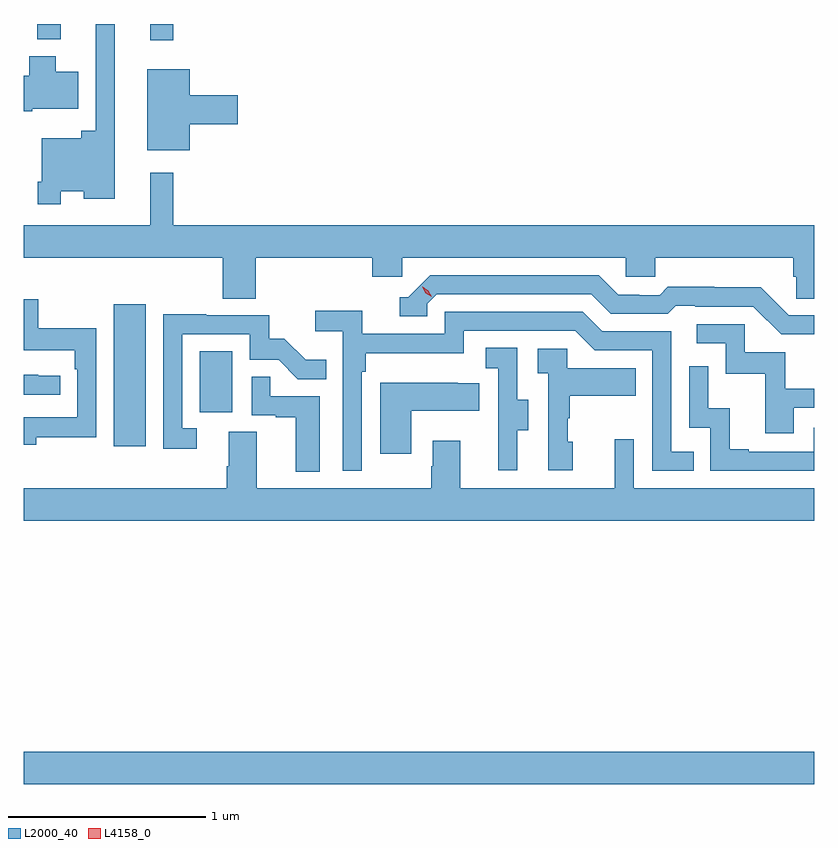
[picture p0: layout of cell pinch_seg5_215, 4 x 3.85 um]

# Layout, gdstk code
import gdstk
lib = gdstk.Library(unit=1e-6, precision=1e-09)
def R(c, l, rs):  # rectangles x0, y0, x1, y1
    for r in rs: c.add(gdstk.rectangle(r[:2], r[2:], *l))
def P(c, l, *ps):  # polygons
    for p in ps: c.add(gdstk.Polygon(p, *l))
L2000_40 = (2000, 40)
L4158_0 = (4158, 0)

pinch_seg5_215 = lib.new_cell('pinch_seg5_215')
R(pinch_seg5_215, L2000_40, [(981.167,911.372,985.167,911.536), (981.623,913.08,981.784,913.801), (982.058,913.254,982.222,913.561), (981.806,915.135,981.923,915.218), (981.235,915.14,981.353,915.218)])
P(pinch_seg5_215, L2000_40, [(981.354,914.372),(981.47,914.372),(981.47,914.333),(981.628,914.333),(981.628,915.218),(981.531,915.218),(981.531,914.677),(981.458,914.677),(981.458,914.641),(981.258,914.641),(981.258,914.419),(981.238,914.419),(981.238,914.307),(981.354,914.307)],
  [(981.21,914.789),(981.442,914.789),(981.442,914.977),(981.328,914.977),(981.328,915.055),(981.194,915.055),(981.194,914.955),(981.167,914.955),(981.167,914.777),(981.21,914.777)],
  [(982.006,914.711),(982.249,914.711),(982.249,914.858),(982.006,914.858),(982.006,914.989),(981.791,914.989),(981.791,914.579),(982.006,914.579)],
  [(982.34,914.036),(982.931,914.036),(982.931,913.938),(983.082,913.938),(983.082,914.036),(984.213,914.036),(984.213,913.938),(984.363,913.938),(984.363,914.036),(985.061,914.036),(985.061,913.938),(985.075,913.938),(985.075,913.828),(985.167,913.828),(985.167,914.2),(981.923,914.2),(981.923,914.464),(981.806,914.464),(981.806,914.2),(981.167,914.2),(981.167,914.036),(982.175,914.036),(982.175,913.828),(982.34,913.828)],
  [(985.167,913.743),(985.038,913.743),(984.896,913.885),(984.66,913.885),(984.66,913.888),(984.427,913.888),(984.385,913.845),(984.282,913.845),(984.282,913.848),(984.175,913.848),(984.076,913.947),(983.223,913.947),(983.112,913.836),(983.069,913.836),(983.069,913.74),(983.208,913.74),(983.208,913.803),(983.256,913.851),(984.039,913.851),(984.138,913.752),(984.427,913.752),(984.466,913.791),(984.565,913.791),(984.565,913.788),(984.858,913.788),(984.999,913.647),(985.167,913.647)],
  [(981.229,913.126),(981.534,913.126),(981.534,913.678),(981.241,913.678),(981.241,913.824),(981.167,913.824),(981.167,913.568),(981.425,913.568),(981.425,913.472),(981.438,913.472),(981.438,913.227),(981.167,913.227),(981.167,913.088),(981.229,913.088)],
  [(982.878,913.457),(982.898,913.457),(982.898,913.553),(983.394,913.553),(983.394,913.665),(983.958,913.665),(984.057,913.566),(984.348,913.566),(984.348,912.957),(984.557,912.957),(984.557,913.053),(984.444,913.053),(984.444,913.662),(984.094,913.662),(983.995,913.761),(983.298,913.761),(983.298,913.65),(982.88,913.65),(982.88,913.766),(982.641,913.766),(982.641,913.664),(982.782,913.664),(982.782,912.957),(982.878,912.957)],
  [(982.042,913.173),(981.969,913.173),(981.969,913.647),(982.311,913.647),(982.311,913.518),(982.456,913.518),(982.554,913.42),(982.697,913.42),(982.697,913.519),(982.593,913.519),(982.486,913.626),(982.41,913.626),(982.41,913.743),(982.091,913.743),(982.091,913.748),(981.873,913.748),(981.873,913.068),(982.042,913.068)],
  [(985.063,913.275),(985.167,913.275),(985.167,913.371),(985.021,913.371),(985.021,913.557),(984.816,913.557),(984.816,913.698),(984.573,913.698),(984.573,913.602),(984.72,913.602),(984.72,913.449),(984.919,913.449),(984.919,913.146),(985.063,913.146)],
  [(983.665,913.162),(983.719,913.162),(983.719,913.317),(983.664,913.317),(983.664,913.58),(983.505,913.58),(983.505,913.477),(983.568,913.477),(983.568,913.173),(983.567,913.173),(983.567,912.96),(983.665,912.96)],
  [(983.944,913.104),(983.919,913.104),(983.919,913.223),(983.929,913.223),(983.929,913.337),(984.263,913.337),(984.263,913.477),(983.916,913.477),(983.916,913.575),(983.769,913.575),(983.769,913.451),(983.82,913.451),(983.82,912.96),(983.944,912.96)],
  [(985.167,913.176),(985.164,913.176),(985.164,913.053),(984.835,913.053),(984.835,913.066),(984.74,913.066),(984.74,913.274),(984.63,913.274),(984.63,913.486),(984.534,913.486),(984.534,913.176),(984.642,913.176),(984.642,912.957),(985.167,912.957)],
  [(981.352,913.437),(981.239,913.437),(981.239,913.442),(981.167,913.442),(981.167,913.341),(981.352,913.341)],
  [(982.666,913.335),(982.415,913.335),(982.415,913.433),(982.32,913.433),(982.32,913.239),(982.441,913.239),(982.441,913.227),(982.544,913.227),(982.544,912.953),(982.666,912.953)],
  [(983.128,913.262),(983.471,913.262),(983.471,913.399),(983.363,913.399),(983.363,913.402),(982.97,913.402),(982.97,913.044),(983.128,913.044)],
  [(985.167,912.868),(984.255,912.868),(984.255,913.117),(984.158,913.117),(984.158,912.868),(983.377,912.868),(983.377,913.108),(983.237,913.108),(983.237,912.98),(983.23,912.98),(983.23,912.868),(982.345,912.868),(982.345,913.154),(982.205,913.154),(982.205,912.98),(982.193,912.98),(982.193,912.868),(981.167,912.868),(981.167,912.704),(985.167,912.704)])
P(pinch_seg5_215, L4158_0, [(983.232,913.837),(983.201,913.856),(983.184,913.888),(983.184,913.888),(983.185,913.888),(983.215,913.869),(983.232,913.837),(983.232,913.837)])

lib.write_gds('pinch_seg5_215.gds')
